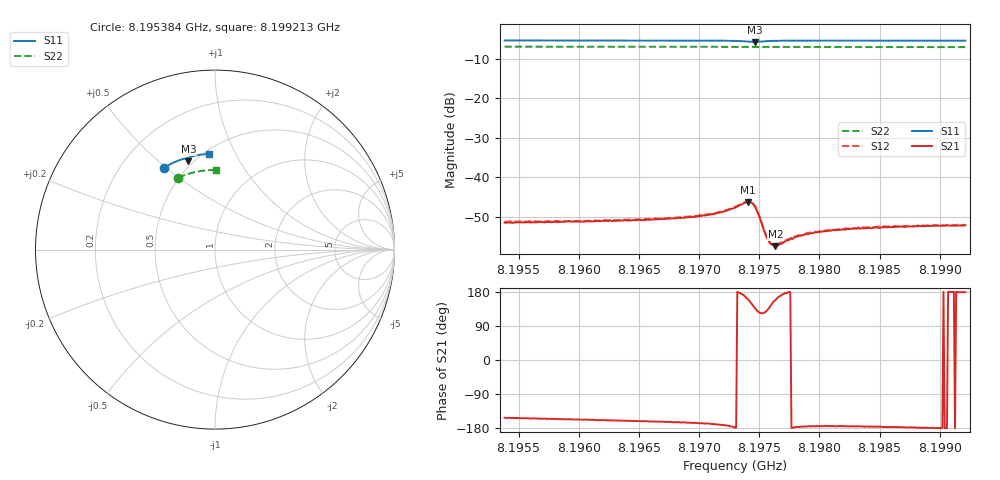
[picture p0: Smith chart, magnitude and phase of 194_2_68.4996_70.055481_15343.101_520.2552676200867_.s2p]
#  HZ  S  RI  R  50.00
! Rohde & Schwarz Vector Network Analyzer
! Rohde-Schwarz,ZNB20-2Port,1311601062101988,3.16
! Created: UTC 3/20/2024, 5:12:22 PM
! freq[Hz]  re:S11  im:S11  re:S21  im:S21  re:S12  im:S12  re:S22  im:S22
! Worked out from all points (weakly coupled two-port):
!   401 points, 8.195384 GHz to 8.199213 GHz, reference 50 ohm
!   highest |S21| = -46.29 dB at 8.197404 GHz (marker M1); lowest = -57.5 dB at 8.197633 GHz (marker M2)
!   lowest |S11| = -5.8 dB at 8.197461 GHz (marker M3), VSWR 3.12, Z = 23.6 + j31.6 ohm
!   |S11| at or under -10 dB: nowhere
!   |S22| runs from -7.1 to -7.0 dB; largest |S21 - S12| = 0.00024
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8.195384e9  -0.2859 0.4553  -0.00235 -0.00123  -0.00245 -0.00115  -0.2041 0.3999
8.1960253e9  -0.2459 0.4774  -0.00252 -0.00105  -0.00267 -0.00097  -0.1711 0.4142
8.1966667e9  -0.2037 0.4959  -0.00281 -0.000868  -0.00287 -0.000794  -0.1367 0.4255
8.1968677e9  -0.1897 0.5011  -0.00294 -0.00081  -0.00304 -0.000721  -0.1258 0.4286
8.1970878e9  -0.1731 0.5061  -0.0033 -0.000674  -0.00335 -0.000547  -0.1137 0.4315
8.1972027e9  -0.1634 0.5078  -0.00362 -0.000517  -0.0037 -0.000374  -0.1074 0.4329
8.1972984e9  -0.1539 0.5079  -0.00409 -0.000123  -0.00422 4.5e-05  -0.1021 0.434
8.1974037e9  -0.1437 0.5  -0.00459 0.00155  -0.00461 0.00175  -0.0962 0.4349
8.1974325e9  -0.1442 0.4954  -0.00414 0.00234  -0.00414 0.00258  -0.0944 0.435
8.1974612e9  -0.1481 0.4927  -0.00318 0.00286  -0.00314 0.00308  -0.0931 0.4353
8.1974899e9  -0.1526 0.4938  -0.00213 0.00276  -0.00206 0.00289  -0.0917 0.4355
8.1975473e9  -0.155 0.5021  -0.00113 0.0016  -0.00114 0.00167  -0.0887 0.4365
8.197576e9  -0.1534 0.5055  -0.00113 0.00112  -0.00108 0.00116  -0.0872 0.4368
8.1976048e9  -0.1512 0.5083  -0.00117 0.000748  -0.00115 0.000824  -0.0855 0.4369
8.1976335e9  -0.1489 0.5102  -0.00124 0.000507  -0.00127 0.000563  -0.084 0.4372
8.1976718e9  -0.1455 0.5125  -0.00138 0.000276  -0.00144 0.000341  -0.0818 0.4377
8.1977292e9  -0.1406 0.5149  -0.00157 8.84e-05  -0.00161 0.000116  -0.0786 0.4383
8.1978153e9  -0.1334 0.5175  -0.00177 -0.00011  -0.00181 -4e-05  -0.0736 0.4389
8.1979398e9  -0.124 0.5203  -0.00194 -0.000184  -0.00198 -8.85e-05  -0.0668 0.4398
8.1982078e9  -0.1042 0.5246  -0.00214 -0.00021  -0.00223 -0.000105  -0.0515 0.4413
8.1985811e9  -0.0774 0.5291  -0.00233 -0.000121  -0.00234 -5.05e-05  -0.0305 0.4427
8.1992129e9  -0.0325 0.533  -0.00246 4.61e-05  -0.00249 0.000149  0.00549 0.4426
